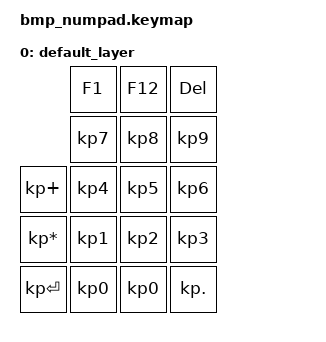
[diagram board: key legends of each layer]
#include <behaviors.dtsi>
#include <dt-bindings/zmk/keys.h>

/ {
    keymap {
        compatible = "zmk,keymap";

        default_layer {
            bindings = <
//         RC(2,0) RC(1,0) RC(0,0)
//         RC(2,1) RC(1,1) RC(0,1)
// RC(3,2) RC(2,2) RC(1,2) RC(0,2)
// RC(3,3) RC(2,3) RC(1,3) RC(0,3)
// RC(3,4) RC(2,4) RC(1,4) RC(0,4)
                &kp F1      &kp F12     &kp DEL
                &kp KP_N7   &kp KP_N8   &kp KP_N9
&kp KP_PLUS     &kp KP_N4   &kp KP_N5   &kp KP_N6
&kp KP_MULTIPLY &kp KP_N1   &kp KP_N2   &kp KP_N3
&kp KP_ENTER    &kp KP_N0   &kp KP_N0   &kp KP_DOT
            >;
        };
    };
};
